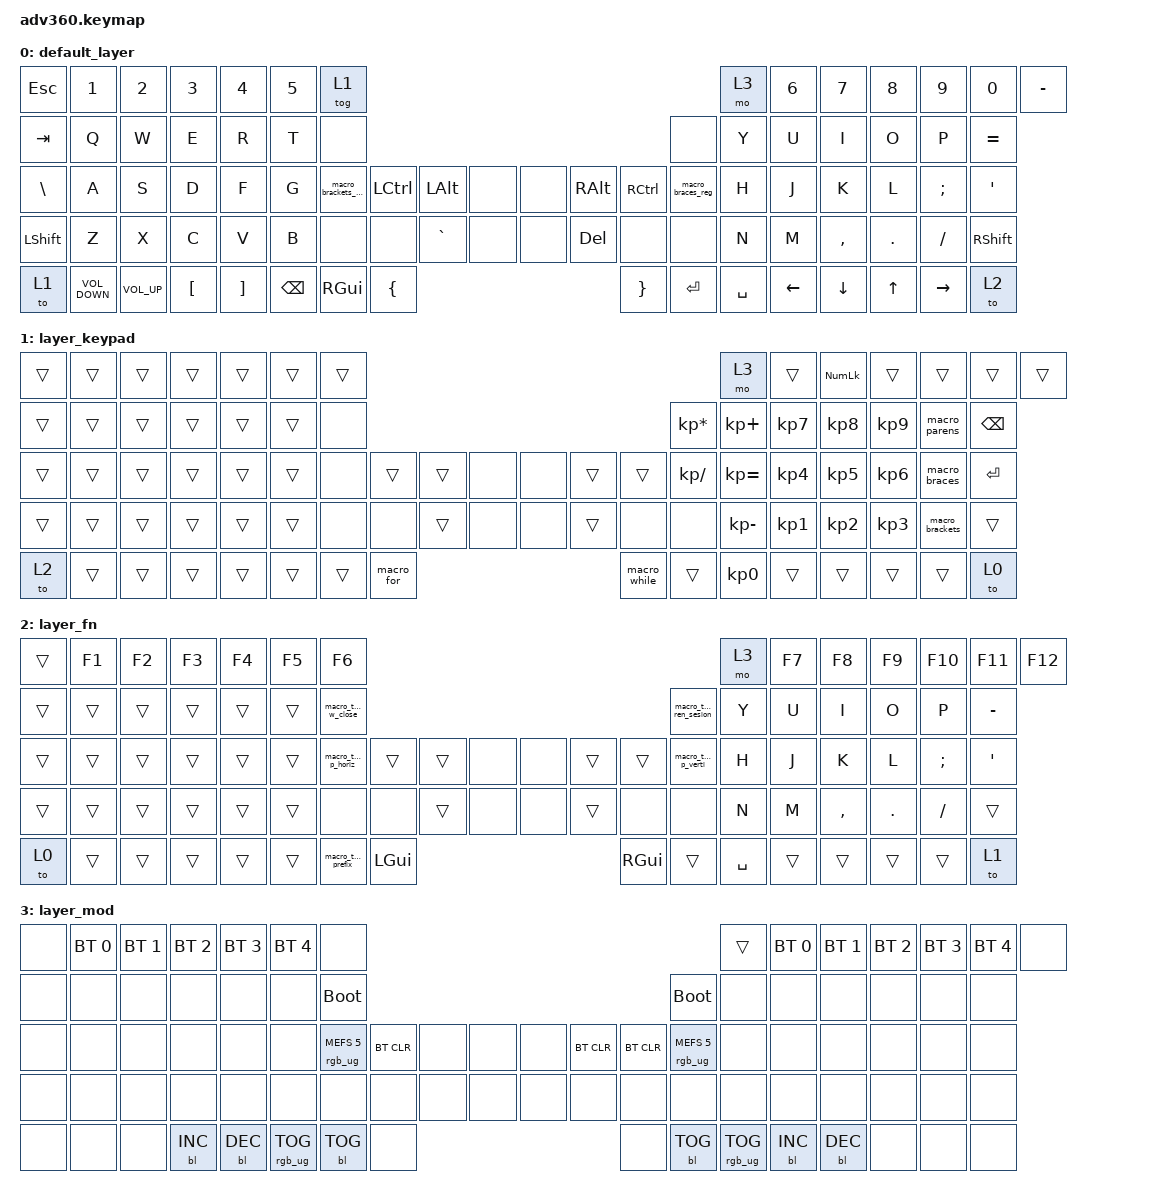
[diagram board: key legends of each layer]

/*
 * Copyright (c) 2020 The ZMK Contributors
 *
 * SPDX-License-Identifier: MIT
 */


/* THIS FILE WAS GENERATED!
 *
 * This file was generated automatically. You may or may not want to
 * edit it directly.
 */

#include <behaviors.dtsi>
#include <dt-bindings/zmk/keys.h>
#include <dt-bindings/zmk/bt.h>
#include <dt-bindings/zmk/rgb.h>
#include <dt-bindings/zmk/backlight.h>

/ {
  behaviors {
    #include "macros.dtsi"

    hm: homerow_mods {
        compatible = "zmk,behavior-hold-tap";
        label = "HOMEROW_MODS";
        #binding-cells = <2>;
        tapping-term-ms = <200>;
        quick_tap_ms = <175>;
        flavor = "tap-preferred";
        bindings = <&kp>, <&kp>;
    };
  };

    keymap {
        compatible = "zmk,keymap";


        default_layer {
            bindings = <
   &kp ESC             &kp N1        &kp N2            &kp N3             &kp N4  &kp N5                         &tog 1                                                                                     &mo 3  &kp N6    &kp N7     &kp N8   &kp N9     &kp N0  &kp MINUS
   &kp TAB              &kp Q         &kp W             &kp E              &kp R   &kp T                          &none                                                                                     &none   &kp Y     &kp U      &kp I    &kp O      &kp P  &kp EQUAL
  &kp BSLH              &kp A         &kp S             &kp D              &kp F   &kp G            &macro_brackets_reg  &kp LCTRL        &kp LALT   &none   &none         &kp RALT  &kp RCTRL  &macro_braces_reg   &kp H     &kp J      &kp K    &kp L   &kp SEMI    &kp SQT
 &kp LSHFT              &kp Z         &kp X             &kp C              &kp V   &kp B                          &none      &none       &kp GRAVE   &none   &none          &kp DEL      &none              &none   &kp N     &kp M  &kp COMMA  &kp DOT   &kp FSLH  &kp RSHFT
     &to 1  &kp C_VOLUME_DOWN  &kp C_VOL_UP  &kp LEFT_BRACKET  &kp RIGHT_BRACKET                               &kp BSPC   &kp RGUI  &kp LEFT_BRACE                  &kp RIGHT_BRACE  &kp ENTER          &kp SPACE          &kp LEFT   &kp DOWN   &kp UP  &kp RIGHT      &to 2
            >;
        };

        layer_keypad {
            bindings = <
 &trans  &trans  &trans  &trans  &trans  &trans            &trans                                                                      &mo 3        &trans  &kp KP_NUM     &trans     &trans           &trans         &trans
 &trans  &trans  &trans  &trans  &trans  &trans             &none                                                            &kp KP_MULTIPLY   &kp KP_PLUS   &kp KP_N7  &kp KP_N8  &kp KP_N9    &macro_parens  &kp BACKSPACE
 &trans  &trans  &trans  &trans  &trans  &trans             &none  &trans      &trans   &none   &none        &trans  &trans    &kp KP_DIVIDE  &kp KP_EQUAL   &kp KP_N4  &kp KP_N5  &kp KP_N6    &macro_braces      &kp ENTER
 &trans  &trans  &trans  &trans  &trans  &trans             &none   &none      &trans   &none   &none        &trans   &none            &none  &kp KP_MINUS   &kp KP_N1  &kp KP_N2  &kp KP_N3  &macro_brackets         &trans
  &to 2  &trans  &trans  &trans  &trans                    &trans  &trans  &macro_for                  &macro_while  &trans        &kp KP_N0                    &trans     &trans     &trans           &trans          &to 0
            >;
        };

        layer_fn {
            bindings = <
 &trans  &kp F1  &kp F2  &kp F3  &kp F4  &kp F5                         &kp F6                                                                                   &mo 3  &kp F7  &kp F8     &kp F9  &kp F10   &kp F11    &kp F12
 &trans  &trans  &trans  &trans  &trans  &trans            &macro_tmux_w_close                                                                  &macro_tmux_ren_sesion   &kp Y   &kp U      &kp I    &kp O     &kp P  &kp MINUS
 &trans  &trans  &trans  &trans  &trans  &trans            &macro_tmux_p_horiz              &trans    &trans   &none   &none    &trans  &trans     &macro_tmux_p_verti   &kp H   &kp J      &kp K    &kp L  &kp SEMI    &kp SQT
 &trans  &trans  &trans  &trans  &trans  &trans                          &none               &none    &trans   &none   &none    &trans   &none                   &none   &kp N   &kp M  &kp COMMA  &kp DOT  &kp FSLH     &trans
  &to 0  &trans  &trans  &trans  &trans                                 &trans  &macro_tmux_prefix  &kp LGUI                  &kp RGUI  &trans               &kp SPACE          &trans     &trans   &trans    &trans      &to 1
            >;
        };

        layer_mod {
            bindings = <
  &none  &bt BT_SEL 0  &bt BT_SEL 1  &bt BT_SEL 2  &bt BT_SEL 3  &bt BT_SEL 4                             &none                                                                              &trans  &bt BT_SEL 0  &bt BT_SEL 1  &bt BT_SEL 2  &bt BT_SEL 3  &bt BT_SEL 4   &none
  &none         &none         &none         &none         &none         &none                       &bootloader                                                                         &bootloader         &none         &none         &none         &none         &none   &none
  &none         &none         &none         &none         &none         &none            &rgb_ug RGB_MEFS_CMD 5  &bt BT_CLR   &none   &none   &none  &bt BT_CLR  &bt BT_CLR  &rgb_ug RGB_MEFS_CMD 5         &none         &none         &none         &none         &none   &none
  &none         &none         &none         &none         &none         &none                             &none       &none   &none   &none   &none       &none       &none                   &none         &none         &none         &none         &none         &none   &none
  &none         &none         &none    &bl BL_INC    &bl BL_DEC                                 &rgb_ug RGB_TOG  &bl BL_TOG   &none                       &none  &bl BL_TOG         &rgb_ug RGB_TOG                  &bl BL_INC    &bl BL_DEC         &none         &none   &none
            >;
        };

    };
};
